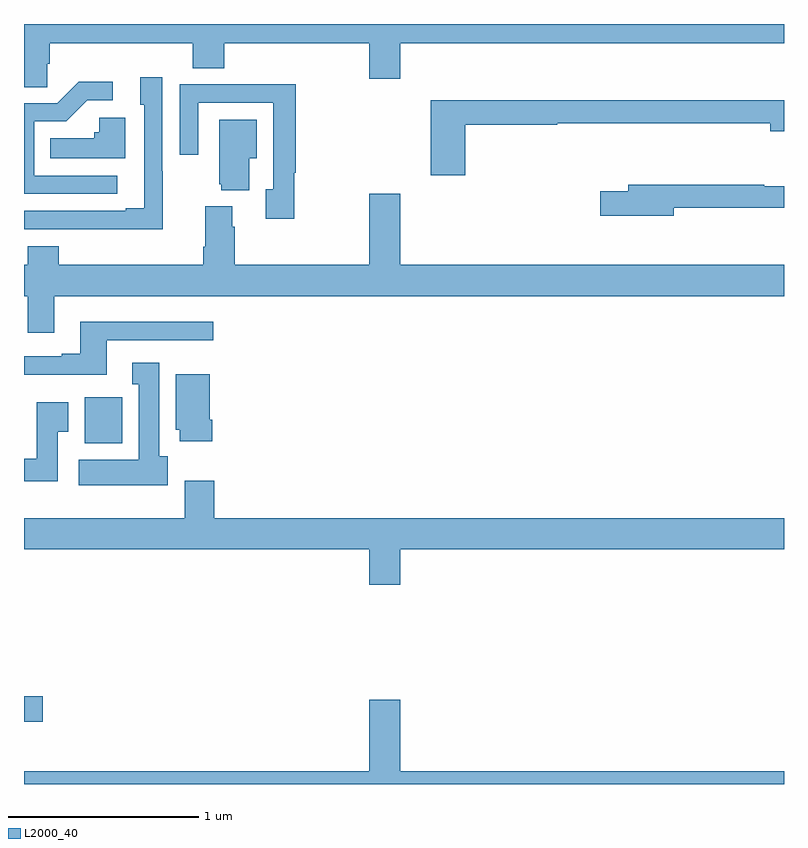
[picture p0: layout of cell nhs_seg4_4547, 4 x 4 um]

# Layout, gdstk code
import gdstk
lib = gdstk.Library(unit=1e-6, precision=1e-09)
def R(c, l, rs):  # rectangles x0, y0, x1, y1
    for r in rs: c.add(gdstk.rectangle(r[:2], r[2:], *l))
def P(c, l, *ps):  # polygons
    for p in ps: c.add(gdstk.Polygon(p, *l))
L2000_40 = (2000, 40)

nhs_seg4_4547 = lib.new_cell('nhs_seg4_4547')
R(nhs_seg4_4547, L2000_40, [(355,813.227,355.099,813.362), (355.319,814.694,355.516,814.936)])
P(nhs_seg4_4547, L2000_40, [(355.122,816.691),(355.136,816.691),(355.136,816.8),(355.889,816.8),(355.889,816.667),(356.054,816.667),(356.054,816.8),(356.816,816.8),(356.816,816.612),(356.98,816.612),(356.98,816.8),(359,816.8),(359,816.9),(355,816.9),(355,816.568),(355.122,816.568)],
  [(355.731,816.125),(355.728,816.125),(355.728,816.619),(355.613,816.619),(355.613,816.474),(355.632,816.474),(355.632,815.929),(355.535,815.929),(355.535,815.916),(355,815.916),(355,815.82),(355.267,815.82),(355.267,815.819),(355.731,815.819)],
  [(355.492,816.102),(355.053,816.102),(355.053,816.387),(355.222,816.387),(355.333,816.498),(355.468,816.498),(355.468,816.596),(355.289,816.596),(355.176,816.483),(355,816.483),(355,816.006),(355.492,816.006)],
  [(356.422,816.118),(356.429,816.118),(356.429,816.584),(356.137,816.584),(356.137,816.582),(355.821,816.582),(355.821,816.213),(355.917,816.213),(355.917,816.486),(356.313,816.486),(356.313,816.03),(356.273,816.03),(356.273,815.874),(356.422,815.874)],
  [(357.323,816.37),(357.806,816.37),(357.806,816.378),(358.928,816.378),(358.928,816.335),(359,816.335),(359,816.499),(357.14,816.499),(357.14,816.105),(357.323,816.105)],
  [(355.534,816.406),(355.395,816.406),(355.395,816.33),(355.369,816.33),(355.369,816.298),(355.138,816.298),(355.138,816.194),(355.534,816.194)],
  [(356.185,816.194),(356.224,816.194),(356.224,816.397),(356.027,816.397),(356.027,816.057),(356.039,816.057),(356.039,816.026),(356.185,816.026)],
  [(358.42,815.934),(359,815.934),(359,816.047),(358.897,816.047),(358.897,816.055),(358.181,816.055),(358.181,816.021),(358.032,816.021),(358.032,815.891),(358.42,815.891)],
  [(355.159,815.468),(359,815.468),(359,815.632),(356.98,815.632),(356.98,816.007),(356.816,816.007),(356.816,815.632),(356.108,815.632),(356.108,815.834),(356.095,815.834),(356.095,815.941),(355.955,815.941),(355.955,815.728),(355.943,815.728),(355.943,815.632),(355.184,815.632),(355.184,815.731),(355.019,815.731),(355.019,815.632),(355,815.632),(355,815.468),(355.019,815.468),(355.019,815.274),(355.159,815.274)],
  [(355.435,815.235),(355.996,815.235),(355.996,815.332),(355.295,815.332),(355.295,815.164),(355.199,815.164),(355.199,815.151),(355,815.151),(355,815.054),(355.435,815.054)],
  [(355.756,814.626),(355.711,814.626),(355.711,815.116),(355.571,815.116),(355.571,815.003),(355.604,815.003),(355.604,814.606),(355.287,814.606),(355.287,814.472),(355.756,814.472)],
  [(355.991,814.816),(355.978,814.816),(355.978,815.056),(355.799,815.056),(355.799,814.764),(355.82,814.764),(355.82,814.704),(355.991,814.704)],
  [(355.177,814.753),(355.234,814.753),(355.234,814.909),(355.067,814.909),(355.067,814.612),(355,814.612),(355,814.494),(355.177,814.494)],
  [(356.98,814.136),(359,814.136),(359,814.3),(356,814.3),(356,814.495),(355.847,814.495),(355.847,814.3),(355,814.3),(355,814.136),(356.816,814.136),(356.816,813.948),(356.98,813.948)],
  [(359,812.968),(356.98,812.968),(356.98,813.343),(356.816,813.343),(356.816,812.968),(355,812.968),(355,812.9),(359,812.9)])

lib.write_gds('nhs_seg4_4547.gds')
